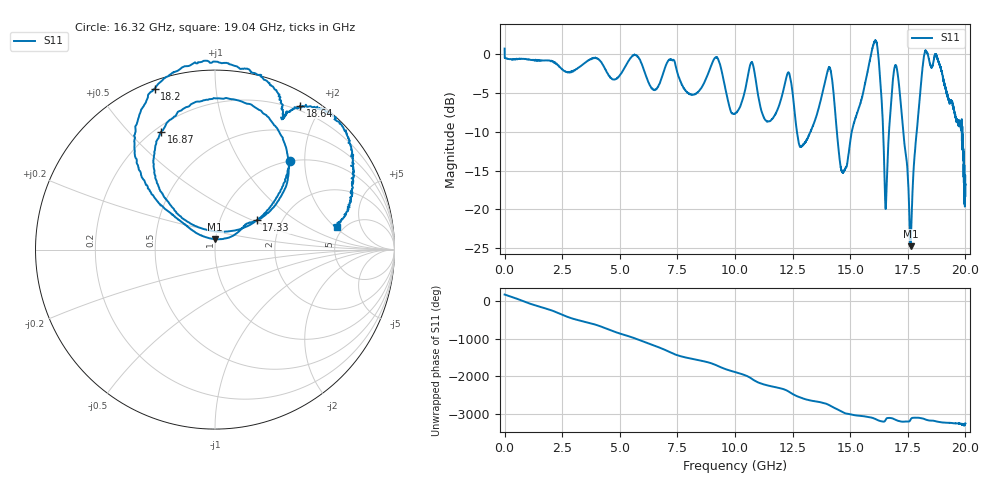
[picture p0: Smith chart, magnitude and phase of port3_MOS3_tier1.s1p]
! Created with skrf 1.8.0 (http://scikit-rf.org).
# GHz S RI R 50.0
!freq ReS11 ImS11
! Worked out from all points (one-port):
!   10001 points, 1 MHz to 20 GHz, reference 50 ohm
!   lowest |S11| = -24.7 dB at 17.62 GHz (marker M1), VSWR 1.12, Z = 49.7 + j5.8 ohm
!   |S11| at or under -10 dB: 12.69 GHz to 13.28 GHz (586.8 MHz wide, 4.52 % of centre); 14.42 GHz to 15.07 GHz (643.7 MHz wide, 4.37 % of centre); 17.31 GHz to 17.89 GHz (579 MHz wide, 3.29 % of centre) (the widest 3 of 8)
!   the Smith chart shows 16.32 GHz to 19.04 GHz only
!   S11 on the Smith chart (normalised r, x): 16.32 GHz: 0.99, +1.69; 16.87 GHz: 0.23, +0.62; 17.33 GHz: 1.49, +0.53; 18.2 GHz: 0.03, +0.69; 18.64 GHz: 0.14, +1.75; 19.04 GHz: 4.41, +2.17
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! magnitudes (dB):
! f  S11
! 1 MHz  0.7
! 2.501 GHz  -2.0
! 5.001 GHz  -2.8
! 7.501 GHz  -2.4
! 8.229 GHz  -5.2
! 9.211 GHz  -0.4
! 10 GHz  -7.7
! 10.71 GHz  -1.1
! 11.37 GHz  -8.6
! 12.29 GHz  -2.5
! 12.5 GHz  -5.1
! 12.92 GHz  -11.9
! 14.1 GHz  -1.7
! 14.62 GHz  -14.9
! 15 GHz  -11.3
! 16.04 GHz  1.5
! 16.32 GHz  -3.8
! 16.55 GHz  -19.3
! 16.87 GHz  -2.8
! 17.05 GHz  -2.3
! 17.33 GHz  -10.9
! 17.5 GHz  -15.6
! 17.62 GHz  -24.7
! 18.2 GHz  -0.4
! 18.64 GHz  -0.6
! 19.04 GHz  -3.2
! 19.8 GHz  -8.9
! 20 GHz  -16.8
